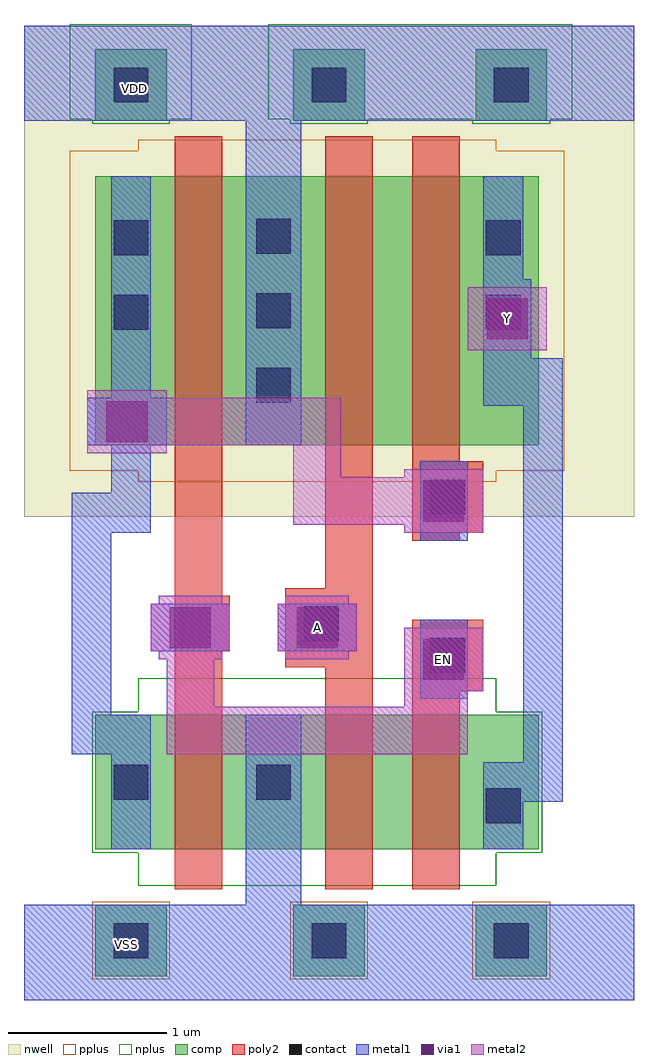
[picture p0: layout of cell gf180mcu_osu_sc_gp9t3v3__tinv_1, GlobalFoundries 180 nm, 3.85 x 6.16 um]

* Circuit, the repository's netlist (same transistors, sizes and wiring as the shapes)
* Copyright 2022 Google LLC
*
* Licensed under the Apache License, Version 2.0 (the "License");
* you may not use this file except in compliance with the License.
* You may obtain a copy of the License at
*
*      http://www.apache.org/licenses/LICENSE-2.0
*
* Unless required by applicable law or agreed to in writing, software
* distributed under the License is distributed on an "AS IS" BASIS,
* WITHOUT WARRANTIES OR CONDITIONS OF ANY KIND, either express or implied.
* See the License for the specific language governing permissions and
* limitations under the License.

.inc "/import/yukari1/lrburle/OSU_180/char/techfiles/design.hspice"
.lib "/import/yukari1/lrburle/OSU_180/char/techfiles/sm141064.hspice" typical

.GLOBAL VDD
.GLOBAL VSS

.option scale=0.05u

.subckt gf180mcu_osu_sc_gp9t3v3__tinv_1 A Y EN
X0 Y a_9_19 a_44_70 VDD pmos_3p3 w=34 l=6
X1 VSS a_19_14 a_9_19 VSS nmos_3p3 w=17 l=6
X2 VDD a_19_14 a_9_19 VDD pmos_3p3 w=34 l=6
X3 a_44_19 A VSS VSS nmos_3p3 w=17 l=6
X4 a_44_70 A VDD VDD pmos_3p3 w=34 l=6
X5 Y EN a_44_19 VSS nmos_3p3 w=17 l=6
.ends

** hspice subcircuit dictionary

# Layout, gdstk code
import gdstk
lib = gdstk.Library(unit=1e-6, precision=1e-09)
def R(c, l, rs):  # rectangles x0, y0, x1, y1
    for r in rs: c.add(gdstk.rectangle(r[:2], r[2:], *l))
def A(c, l, x, y, w, h, nx, ny, dx, dy):  # array of equal rectangles
    R(c, l, [(x+i*dx, y+j*dy, x+i*dx+w, y+j*dy+h) for i in range(nx) for j in range(ny)])
nwell = (21, 0)
comp = (22, 0)
poly2 = (30, 0)
pplus = (31, 0)
nplus = (32, 0)
contact = (33, 0)
metal1 = (34, 0)
via1 = (35, 0)
metal2 = (36, 0)

gf180mcu_osu_sc_gp9t3v3_ = lib.new_cell('gf180mcu_osu_sc_gp9t3v3__tinv_1')
R(gf180mcu_osu_sc_gp9t3v3_, nwell, [(0,3.05,3.85,6.15)])
R(gf180mcu_osu_sc_gp9t3v3_, comp, [(0.45,0.15,0.9,0.6), (1.7,0.15,2.15,0.6), (2.85,0.15,3.3,0.6), (0.45,0.95,3.25,1.8), (0.45,3.5,3.25,5.2), (0.45,5.55,0.9,6), (1.7,5.55,2.15,6), (2.85,5.55,3.3,6)])
R(gf180mcu_osu_sc_gp9t3v3_, poly2, [(0.95,0.7,1.25,2.2), (1.9,0.7,2.2,2.1), (2.45,0.7,2.75,1.95), (2.45,1.95,2.9,2.4), (1.65,2.1,2.2,2.6), (0.95,2.2,1.3,2.55), (0.95,2.55,1.25,5.45), (1.9,2.6,2.2,5.45), (2.45,2.9,2.75,2.95), (2.45,2.95,2.9,3.4), (2.45,3.4,2.75,5.45)])
R(gf180mcu_osu_sc_gp9t3v3_, pplus, [(0.43,0.13,0.92,0.62), (1.68,0.13,2.17,0.62), (2.83,0.13,3.32,0.62), (0.72,3.27,2.98,3.34), (0.29,3.34,3.41,5.36), (0.72,5.36,2.98,5.43)])
R(gf180mcu_osu_sc_gp9t3v3_, nplus, [(0.72,0.72,2.98,0.93), (0.43,0.93,3.27,1.82), (0.72,1.82,2.98,2.03), (0.43,5.53,0.92,5.56), (1.68,5.53,2.17,5.56), (2.83,5.53,3.32,5.56), (0.29,5.56,1.06,6.16), (1.54,5.56,3.46,6.16)])
A(gf180mcu_osu_sc_gp9t3v3_, contact, 1.465, 3.77, 0.22, 0.22, 1, 3, 0, 0.47)
R(gf180mcu_osu_sc_gp9t3v3_, contact, [(0.565,0.265,0.785,0.485), (1.815,0.265,2.035,0.485), (2.965,0.265,3.185,0.485), (2.915,1.115,3.135,1.335), (0.565,1.265,0.785,1.485), (1.465,1.265,1.685,1.485), (2.565,2.065,2.785,2.285), (1.765,2.265,1.985,2.485), (2.565,3.065,2.785,3.285), (0.565,4.23,0.785,4.45), (2.915,4.23,3.135,4.45), (0.565,4.7,0.785,4.92), (2.915,4.7,3.135,4.92), (0.565,5.665,0.785,5.885), (1.815,5.665,2.035,5.885), (2.965,5.665,3.185,5.885)])
R(gf180mcu_osu_sc_gp9t3v3_, metal1, [(0,0,3.85,0.6), (1.4,0.6,1.75,1.8), (0.55,0.95,0.8,1.55), (2.9,0.95,3.15,1.25), (2.9,1.25,3.4,1.5), (3.15,1.5,3.4,3.75), (0.3,1.55,0.8,1.8), (0.3,1.8,0.55,2.95), (2.5,1.9,2.8,2.4), (0.8,2.2,1.3,2.5), (1.6,2.2,2.1,2.5), (2.5,2.9,2.8,3.4), (0.3,2.95,0.8,3.2), (0.55,3.2,0.8,3.5), (0.4,3.5,0.9,3.8), (1.4,3.5,1.75,5.55), (2.9,3.75,3.4,4.05), (0.55,3.8,0.8,5.2), (2.9,4.05,3.2,4.55), (2.9,4.55,3.15,5.2), (0,5.55,3.85,6.15)])
R(gf180mcu_osu_sc_gp9t3v3_, via1, [(2.52,2.02,2.78,2.28), (0.92,2.22,1.18,2.48), (1.72,2.22,1.98,2.48), (2.52,3.02,2.78,3.28), (0.52,3.52,0.78,3.78), (2.92,4.17,3.18,4.43)])
R(gf180mcu_osu_sc_gp9t3v3_, metal2, [(0.9,1.55,2.8,1.85), (0.9,1.85,1.2,2.15), (2.4,1.85,2.8,1.95), (2.4,1.95,2.9,2.35), (0.85,2.15,1.25,2.2), (1.65,2.15,2.05,2.2), (0.8,2.2,1.3,2.5), (1.6,2.2,2.1,2.5), (0.85,2.5,1.25,2.55), (1.65,2.5,2.05,2.55), (2.4,2.95,2.9,3), (1.7,3,2.9,3.3), (1.7,3.3,2,3.5), (2.4,3.3,2.9,3.35), (0.4,3.45,0.9,3.5), (0.4,3.5,2,3.8), (0.4,3.8,0.9,3.85), (2.8,4.1,3.3,4.5)])
gf180mcu_osu_sc_gp9t3v3_.add(gdstk.Label('VSS', (0.65,0.35), layer=34, texttype=0))
gf180mcu_osu_sc_gp9t3v3_.add(gdstk.Label('VDD', (0.7,5.75), layer=34, texttype=0))
gf180mcu_osu_sc_gp9t3v3_.add(gdstk.Label('A', (1.85,2.35), layer=36, texttype=10))
gf180mcu_osu_sc_gp9t3v3_.add(gdstk.Label('Y', (3.05,4.3), layer=36, texttype=10))
gf180mcu_osu_sc_gp9t3v3_.add(gdstk.Label('EN', (2.65,2.15), layer=36, texttype=10))

lib.write_gds('gf180mcu_osu_sc_gp9t3v3__tinv_1.gds')
